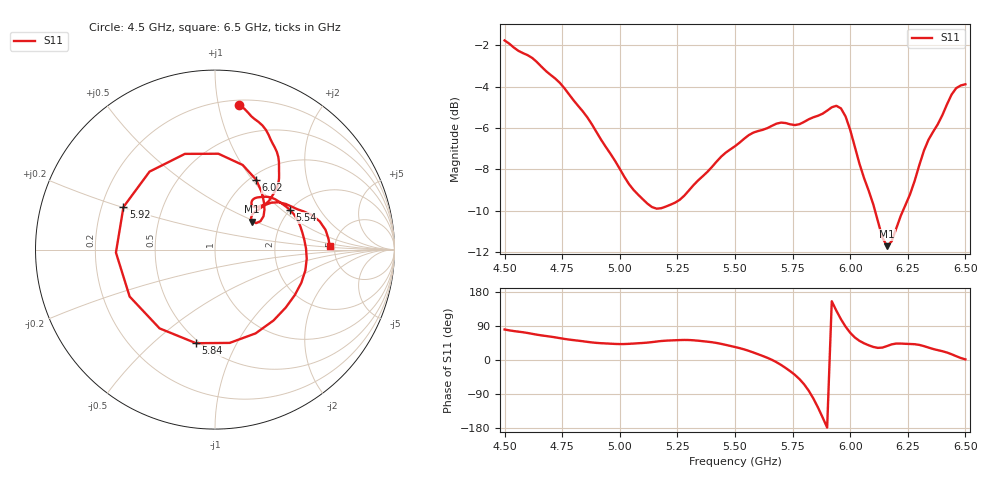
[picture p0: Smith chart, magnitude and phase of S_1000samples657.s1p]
! TOUCHSTONE file generated by CST MICROWAVE STUDIO
! Date and time: Fri Oct 28 22:35:18 2022
! Project name: L.cst
! Parameters = {Di=1.27; Epsilon_r=1.56; InnerDiameter=1.27; Length=2; Lf=10; Lg=60; OuterConductorThickness=0.2921; OuterDiameter=3.6; Wf=3; Wp=41.2; de=1.5; df=6.8; g=0.8; gx=0.520504; gy=4.30511; h=2.34; hf=1.524; px=11.494; py=8.53333; w=9.7; wx=10.9735; wy=4.22823}
! Header version: 2018
! Port assignment regex: !\s*Touchstone port\s*([0-9]+)\s*=\s*(CST MWS port|CST DS port)\s*([0-9]+|Zmin|Zmax)\s*\(\"(.*)\"\)(\s*mode\s*([0-9]+))?.*
! Touchstone port assignment:
! Touchstone port 1 = CST MWS port 1 ("")
# GHz S DB R 50
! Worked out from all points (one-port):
!   101 points, 4.5 GHz to 6.5 GHz, reference 50 ohm
!   lowest |S11| = -11.7 dB at 6.16 GHz (marker M1), VSWR 1.70, Z = 71.5 + j23.9 ohm
!   |S11| at or under -10 dB: 6.108 GHz to 6.229 GHz (121.1 MHz wide, 1.96 % of centre)
!   S11 on the Smith chart (normalised r, x): 4.5 GHz: 0.24, +1.15; 5.54 GHz: 2.00, +1.14; 5.84 GHz: 0.48, -0.70; 5.92 GHz: 0.29, +0.20; 6.02 GHz: 1.07, +1.04; 6.5 GHz: 4.53, +0.27
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4.5  -1.77 80.5
4.64  -2.81 66.8
4.76  -4.08 55.6
5  -7.98 42.0
5.14  -9.82 47.2
5.26  -9.47 52.6
5.42  -7.62 45.0
5.5  -6.88 34.3
5.54  -6.51 28.0
5.68  -5.79 -5.8
5.76  -5.86 -39.3
5.8  -5.70 -64.1
5.84  -5.48 -101.5
5.86  -5.41 -125.1
5.88  -5.31 -151.2
5.9  -5.16 -178.3
5.92  -5.00 155.0
5.94  -4.92 130.0
5.96  -5.05 107.5
6  -6.09 71.9
6.02  -6.90 59.5
6.1  -9.68 34.5
6.16  -11.71 36.8
6.26  -9.20 42.3
6.32  -7.09 36.6
6.4  -5.38 23.2
6.46  -4.07 10.1
6.5  -3.88 1.6
